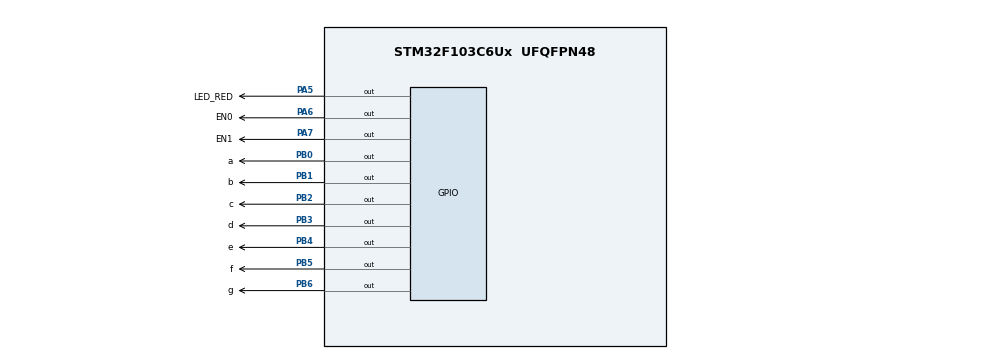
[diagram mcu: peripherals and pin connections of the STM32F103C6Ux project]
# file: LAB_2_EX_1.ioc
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Mcu.Family=STM32F1
Mcu.Name=STM32F103C6Ux
Mcu.Package=UFQFPN48
NVIC.PriorityGroup=NVIC_PRIORITYGROUP_4
NVIC.TIM2_IRQn=true\:0\:0\:false\:false\:true\:true\:true
PA5.GPIO_Label=LED_RED
PA5.Signal=GPIO_Output
PA6.GPIO_Label=EN0
PA6.Signal=GPIO_Output
PA7.GPIO_Label=EN1
PA7.Signal=GPIO_Output
PB0.GPIO_Label=a
PB0.Signal=GPIO_Output
PB1.GPIO_Label=b
PB1.Signal=GPIO_Output
PB2.GPIO_Label=c
PB2.Signal=GPIO_Output
PB3.GPIO_Label=d
PB3.Signal=GPIO_Output
PB4.GPIO_Label=e
PB4.Signal=GPIO_Output
PB5.GPIO_Label=f
PB5.Signal=GPIO_Output
PB6.GPIO_Label=g
PB6.Signal=GPIO_Output
ProjectManager.HeapSize=0x200
ProjectManager.StackSize=0x400
ProjectManager.TargetToolchain=STM32CubeIDE
RCC.APB1Freq_Value=8000000
RCC.APB2Freq_Value=8000000
TIM2.Period=9
TIM2.Prescaler=7999
VP_SYS_VS_ND.Mode=No_Debug
VP_TIM2_VS_ClockSourceINT.Mode=Internal
board=custom

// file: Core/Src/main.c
/* USER CODE BEGIN Header */
/**
  ******************************************************************************
  * @file           : main.c
  * @brief          : Main program body
  ******************************************************************************
  * @attention
  *
  * <h2><center>&copy; Copyright (c) 2025 STMicroelectronics.
  * All rights reserved.</center></h2>
  *
  * This software component is licensed by ST under BSD 3-Clause license,
  * the "License"; You may not use this file except in compliance with the
  * License. You may obtain a copy of the License at:
  *                        opensource.org/licenses/BSD-3-Clause
  *
  ******************************************************************************
  */
/* USER CODE END Header */
#include "main.h"

TIM_HandleTypeDef htim2;

/* USER CODE BEGIN PV */
const uint8_t LED7SEG_CODES[10] = {
    0xC0, // 0: 1100 0000
    0xF9, // 1: 1111 1001
    0xA4, // 2: 1010 0100
    0xB0, // 3: 1011 0000
    0x99, // 4: 1001 1001
    0x92, // 5: 1001 0010
    0x82, // 6: 1000 0010
    0xF8, // 7: 1111 1000
    0x80, // 8: 1000 0000
    0x90  // 9: 1001 0000
};
/* USER CODE END PV */

void SystemClock_Config(void);
static void MX_GPIO_Init(void);
static void MX_TIM2_Init(void);

/* USER CODE BEGIN 0 */
void display7SEG(int num)
{
  if (num < 0 || num > 9) return;

  uint8_t code = LED7SEG_CODES[num];

  for (int i = 0; i < 7; i++)
  {
    GPIO_PinState state = ((code >> i) & 0x01) ? GPIO_PIN_SET : GPIO_PIN_RESET;
    HAL_GPIO_WritePin(GPIOB, (uint16_t)(1 << i), state);
  }
}
/* USER CODE END 0 */

int main(void)
{

  /* MCU Configuration--------------------------------------------------------*/

  /* Reset of all peripherals, Initializes the Flash interface and the Systick. */
  HAL_Init();

  /* Configure the system clock */
  SystemClock_Config();

  /* Initialize all configured peripherals */
  MX_GPIO_Init();
  MX_TIM2_Init();
  /* USER CODE BEGIN 2 */
  HAL_TIM_Base_Start_IT (& htim2 );
  /* USER CODE END 2 */

  /* Infinite loop */
  while (1)
  {

  }
}

void SystemClock_Config(void)
{
  RCC_OscInitTypeDef RCC_OscInitStruct = {0};
  RCC_ClkInitTypeDef RCC_ClkInitStruct = {0};

  /** Initializes the RCC Oscillators according to the specified parameters
  * in the RCC_OscInitTypeDef structure.
  */
  RCC_OscInitStruct.OscillatorType = RCC_OSCILLATORTYPE_HSI;
  RCC_OscInitStruct.HSIState = RCC_HSI_ON;
  RCC_OscInitStruct.HSICalibrationValue = RCC_HSICALIBRATION_DEFAULT;
  RCC_OscInitStruct.PLL.PLLState = RCC_PLL_NONE;
  if (HAL_RCC_OscConfig(&RCC_OscInitStruct) != HAL_OK)
  {
    Error_Handler();
  }
  /** Initializes the CPU, AHB and APB buses clocks
  */
  RCC_ClkInitStruct.ClockType = RCC_CLOCKTYPE_HCLK|RCC_CLOCKTYPE_SYSCLK
                              |RCC_CLOCKTYPE_PCLK1|RCC_CLOCKTYPE_PCLK2;
  RCC_ClkInitStruct.SYSCLKSource = RCC_SYSCLKSOURCE_HSI;
  RCC_ClkInitStruct.AHBCLKDivider = RCC_SYSCLK_DIV1;
  RCC_ClkInitStruct.APB1CLKDivider = RCC_HCLK_DIV1;
  RCC_ClkInitStruct.APB2CLKDivider = RCC_HCLK_DIV1;

  if (HAL_RCC_ClockConfig(&RCC_ClkInitStruct, FLASH_LATENCY_0) != HAL_OK)
  {
    Error_Handler();
  }
}

static void MX_TIM2_Init(void)
{

  TIM_ClockConfigTypeDef sClockSourceConfig = {0};
  TIM_MasterConfigTypeDef sMasterConfig = {0};

  htim2.Instance = TIM2;
  htim2.Init.Prescaler = 7999;
  htim2.Init.CounterMode = TIM_COUNTERMODE_UP;
  htim2.Init.Period = 9;
  htim2.Init.ClockDivision = TIM_CLOCKDIVISION_DIV1;
  htim2.Init.AutoReloadPreload = TIM_AUTORELOAD_PRELOAD_DISABLE;
  if (HAL_TIM_Base_Init(&htim2) != HAL_OK)
  {
    Error_Handler();
  }
  sClockSourceConfig.ClockSource = TIM_CLOCKSOURCE_INTERNAL;
  if (HAL_TIM_ConfigClockSource(&htim2, &sClockSourceConfig) != HAL_OK)
  {
    Error_Handler();
  }
  sMasterConfig.MasterOutputTrigger = TIM_TRGO_RESET;
  sMasterConfig.MasterSlaveMode = TIM_MASTERSLAVEMODE_DISABLE;
  if (HAL_TIMEx_MasterConfigSynchronization(&htim2, &sMasterConfig) != HAL_OK)
  {
    Error_Handler();
  }

}

static void MX_GPIO_Init(void)
{
  GPIO_InitTypeDef GPIO_InitStruct = {0};

  /* GPIO Ports Clock Enable */
  __HAL_RCC_GPIOA_CLK_ENABLE();
  __HAL_RCC_GPIOB_CLK_ENABLE();

  /*Configure GPIO pin Output Level */
  HAL_GPIO_WritePin(GPIOA, LED_RED_Pin|EN0_Pin|EN1_Pin, GPIO_PIN_RESET);

  /*Configure GPIO pin Output Level */
  HAL_GPIO_WritePin(GPIOB, a_Pin|b_Pin|c_Pin|d_Pin
                          |e_Pin|f_Pin|g_Pin, GPIO_PIN_RESET);

  /*Configure GPIO pins : LED_RED_Pin EN0_Pin EN1_Pin */
  GPIO_InitStruct.Pin = LED_RED_Pin|EN0_Pin|EN1_Pin;
  GPIO_InitStruct.Mode = GPIO_MODE_OUTPUT_PP;
  GPIO_InitStruct.Pull = GPIO_NOPULL;
  GPIO_InitStruct.Speed = GPIO_SPEED_FREQ_LOW;
  HAL_GPIO_Init(GPIOA, &GPIO_InitStruct);

  /*Configure GPIO pins : a_Pin b_Pin c_Pin d_Pin
                           e_Pin f_Pin g_Pin */
  GPIO_InitStruct.Pin = a_Pin|b_Pin|c_Pin|d_Pin
                          |e_Pin|f_Pin|g_Pin;
  GPIO_InitStruct.Mode = GPIO_MODE_OUTPUT_PP;
  GPIO_InitStruct.Pull = GPIO_NOPULL;
  GPIO_InitStruct.Speed = GPIO_SPEED_FREQ_LOW;
  HAL_GPIO_Init(GPIOB, &GPIO_InitStruct);

}

/* USER CODE BEGIN 4 */
int counter = 50;
void HAL_TIM_PeriodElapsedCallback ( TIM_HandleTypeDef * htim )
{
  counter--;
  if( counter <= 0) {
   counter = 50;
   static int EN = 0;
   if (EN == 0) {
     HAL_GPIO_WritePin(EN1_GPIO_Port, EN1_Pin, GPIO_PIN_SET);
     display7SEG(1);
     HAL_GPIO_WritePin(EN0_GPIO_Port, EN0_Pin, GPIO_PIN_RESET);
     EN = 1;
   }
   else {
	 HAL_GPIO_WritePin(EN0_GPIO_Port, EN0_Pin, GPIO_PIN_SET);
     display7SEG(2);
     HAL_GPIO_WritePin(EN1_GPIO_Port, EN1_Pin, GPIO_PIN_RESET);
     EN = 0;
   }
   HAL_GPIO_TogglePin ( LED_RED_GPIO_Port , LED_RED_Pin ) ;
  }
}

/* USER CODE END 4 */

void Error_Handler(void)
{
  __disable_irq();
  while (1)
  {
  }
}

/************************ (C) COPYRIGHT STMicroelectronics *****END OF FILE****/
